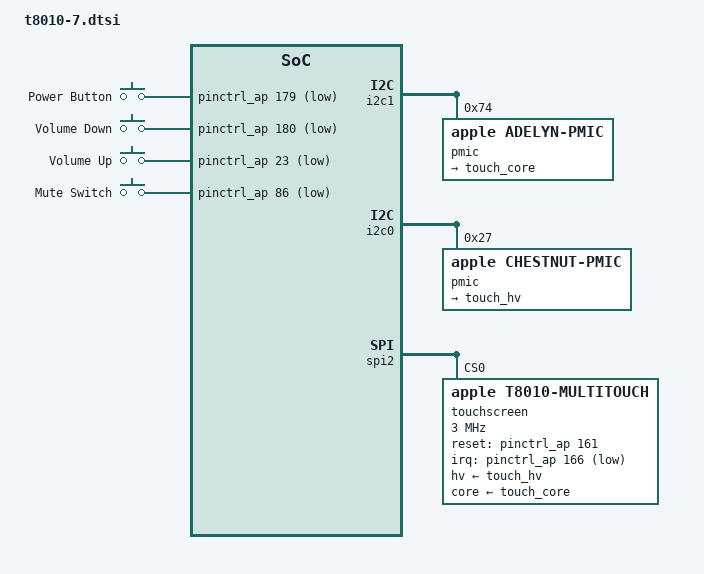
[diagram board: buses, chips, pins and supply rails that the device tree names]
// SPDX-License-Identifier: GPL-2.0+ OR MIT
/*
 * Apple iPhone 7 / 7 Plus common device tree
 *
 * Copyright (c) 2022, Konrad Dybcio <konradybcio@kernel.org>
 */

#include "t8010.dtsi"
#include <dt-bindings/gpio/gpio.h>
#include "t8010-common.dtsi"
#include <dt-bindings/input/input.h>

/ {
	chassis-type = "handset";

	gpio-keys {
		compatible = "gpio-keys";

		button-power {
			label = "Power Button";
			gpios = <&pinctrl_ap 179 GPIO_ACTIVE_LOW>;
			linux,code = <KEY_POWER>;
			wakeup-source;
		};

		button-voldown {
			label = "Volume Down";
			gpios = <&pinctrl_ap 180 GPIO_ACTIVE_LOW>;
			linux,code = <KEY_VOLUMEDOWN>;
		};

		button-volup {
			label = "Volume Up";
			gpios = <&pinctrl_ap 23 GPIO_ACTIVE_LOW>;
			linux,code = <KEY_VOLUMEUP>;
		};

		switch-mute {
			label = "Mute Switch";
			gpios = <&pinctrl_ap 86 GPIO_ACTIVE_LOW>;
			linux,code = <KEY_MUTE>;
		};
	};
};

&framebuffer0 {
	power-domains = <&ps_disp0_fe &ps_disp0_be &ps_mipi_dsi>;
};

&hurricane_opp09 {
	status = "okay";
};

&hurricane_opp10 {
	status = "okay";
};

&i2c1 {
	status = "okay";

	pmic@74 {
		compatible = "apple,adelyn-pmic", "apple,i2c-pmic";
		reg = <0x74>;
		#address-cells = <1>;
		#size-cells = <1>;

		rtc@500 {
			compatible = "apple,adelyn-pmic-rtc", "apple,antigua-pmic-rtc";
			reg = <0x500 0x10>;
			nvmem-cells = <&rtc_offset>;
			nvmem-cell-names = "rtc_offset";
		};

		/* Touch-Controller Kern-Versorgung (Sandcastle: touch_pwrsw) */
		touch_core: touch-core@31f {
			compatible = "apple,pmic-switch";
			reg = <0x31f 1>;
			apple,enable-mask = <0x01>;
			regulator-name = "touch-core";
		};

		nvmem@5000 {
			compatible = "apple,pmic-nvmem";
			reg = <0x5000 0x28>;

			nvmem-layout {
				compatible = "fixed-layout";
				#address-cells = <1>;
				#size-cells = <1>;

				rtc_offset: rtc-offset@4 {
					reg = <0x4 0x4>;
				};
			};
		};
	};
};

&pmgr {
	touch_clk: clock-controller@78000 {
		compatible = "apple,t8010-touch-clk";
		reg = <0x78000 0x8>;
		clocks = <&clkref>;
		#clock-cells = <0>;
		clock-frequency = <32768>;
		clock-output-names = "touch_clk";
	};
};

&i2c0 {
	status = "okay";

	/* Display-PMU "chestnut": Reg 0x05 Bits 0-3 = LCD-LDO (nicht anfassen!), Bit 4 = Touch HV */
	pmic@27 {
		compatible = "apple,chestnut-pmic";
		reg = <0x27>;
		#address-cells = <1>;
		#size-cells = <1>;

		touch_hv: touch-hv@5 {
			compatible = "apple,pmic-switch";
			reg = <0x5 1>;
			apple,enable-mask = <0x10>;
			regulator-name = "touch-hv";
		};
	};
};

&spi2 {
	status = "okay";

	touchscreen@0 {
		compatible = "apple,t8010-multitouch";
		reg = <0>;
		spi-max-frequency = <3000000>;
		hv-supply = <&touch_hv>;
		core-supply = <&touch_core>;
		reset-gpios = <&pinctrl_ap 161 GPIO_ACTIVE_HIGH>;
		cs-gpios = <&pinctrl_ap 81 GPIO_ACTIVE_HIGH>;
		irq-gpios = <&pinctrl_ap 166 GPIO_ACTIVE_LOW>;
		clocks = <&touch_clk>;
	};
};
